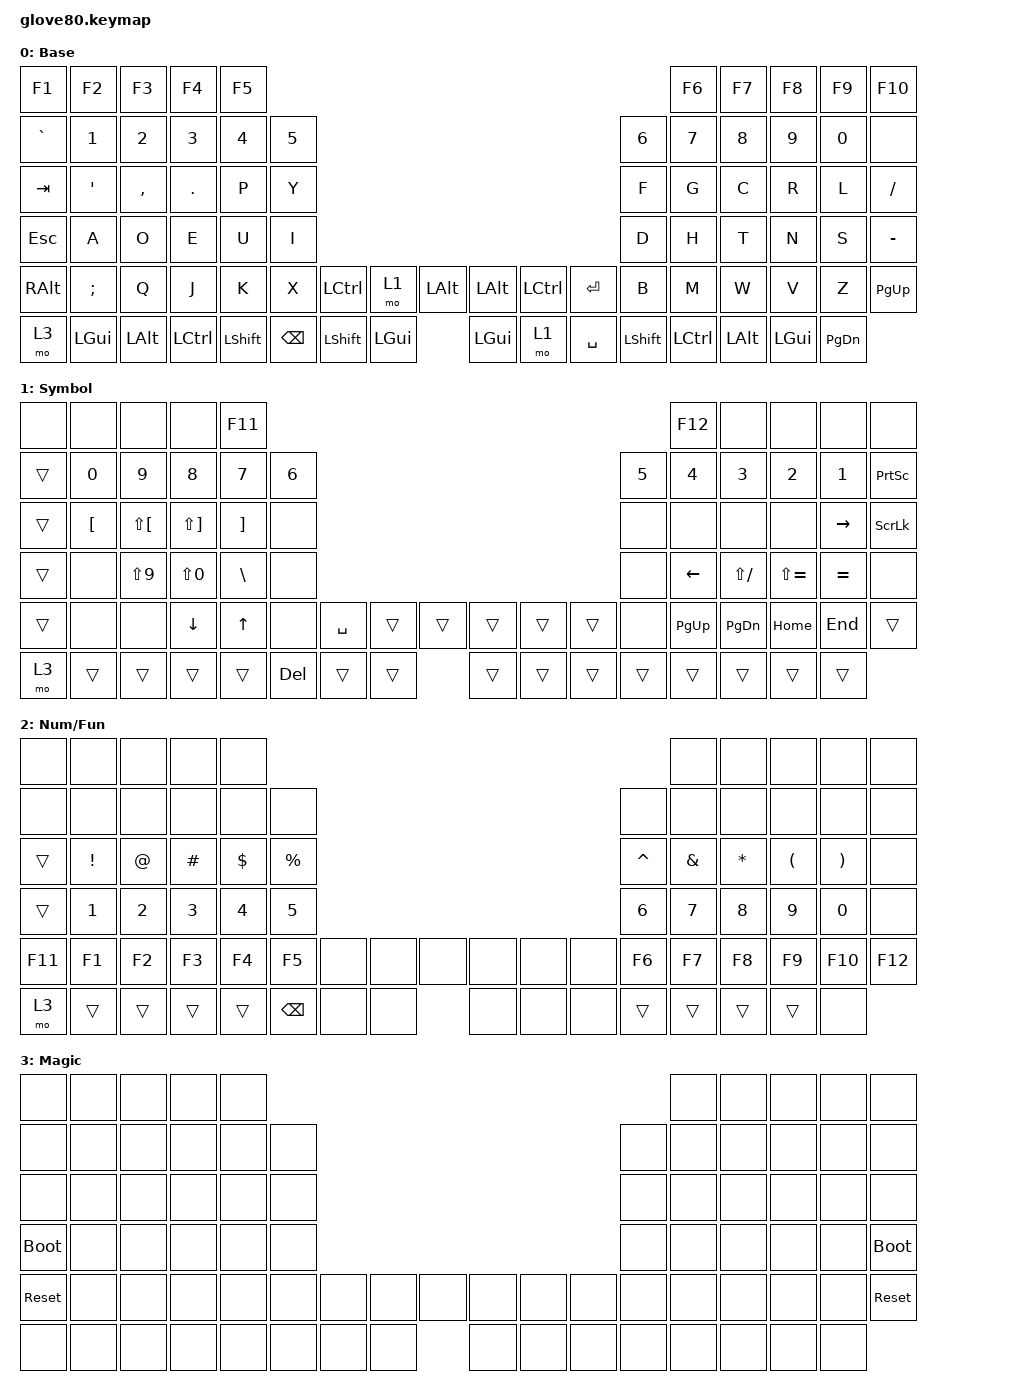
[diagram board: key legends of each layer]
#include <behaviors.dtsi>
#include <dt-bindings/zmk/keys.h>

#pragma once

#define ZMK_HELPER_STRINGIFY(x) #x

// Preprocessor mechanism to overload macros, cf. https://stackoverflow.com/a/27051616/6114651

#define VARGS_(_10, _9, _8, _7, _6, _5, _4, _3, _2, _1, N, ...) N
#define VARGS(...) VARGS_(__VA_ARGS__, 10, 9, 8, 7, 6, 5, 4, 3, 2, 1, 0)
#define CONCAT_(a, b) a##b
#define CONCAT(a, b) CONCAT_(a, b)

#define ZMK_BEHAVIOR_CORE_tap_dance  \
    compatible = "zmk,behavior-tap-dance"; \
    #binding-cells = <0>

#define ZMK_BEHAVIOR(name, type, ...) \
    name: name { \
        ZMK_BEHAVIOR_CORE_ ## type; \
        __VA_ARGS__ \
    };
#define ZMK_TAP_DANCE(name, ...) \
    ZMK_BEHAVIOR(name, tap_dance, __VA_ARGS__)
#define ZMK_TD_LAYER(name, layer) \
    ZMK_TAP_DANCE(name, \
        tapping-term-ms = <200>; \
        bindings = <&mo layer>, <&to layer>; \
)

#define POS_LH_T1 52
#define POS_LH_T2 53
#define POS_LH_T3 54
#define POS_LH_T4 69
#define POS_LH_T5 70
#define POS_LH_T6 71
#define POS_LH_C1R2 15
#define POS_LH_C1R3 27
#define POS_LH_C1R4 39
#define POS_LH_C1R5 51
#define POS_LH_C2R1 4
#define POS_LH_C2R2 14
#define POS_LH_C2R3 26
#define POS_LH_C2R4 38
#define POS_LH_C2R5 50
#define POS_LH_C2R6 68
#define POS_LH_C3R1 3
#define POS_LH_C3R2 13
#define POS_LH_C3R3 25
#define POS_LH_C3R4 37
#define POS_LH_C3R5 49
#define POS_LH_C3R6 67
#define POS_LH_C4R1 2
#define POS_LH_C4R2 12
#define POS_LH_C4R3 24
#define POS_LH_C4R4 36
#define POS_LH_C4R5 48
#define POS_LH_C4R6 66
#define POS_LH_C5R1 1
#define POS_LH_C5R2 11
#define POS_LH_C5R3 23
#define POS_LH_C5R4 35
#define POS_LH_C5R5 47
#define POS_LH_C5R6 65
#define POS_LH_C6R1 0
#define POS_LH_C6R2 10
#define POS_LH_C6R3 22
#define POS_LH_C6R4 34
#define POS_LH_C6R5 46
#define POS_LH_C6R6 64
#define POS_RH_T1 57
#define POS_RH_T2 56
#define POS_RH_T3 55
#define POS_RH_T4 74
#define POS_RH_T5 73
#define POS_RH_T6 72
#define POS_RH_C1R2 16
#define POS_RH_C1R3 28
#define POS_RH_C1R4 40
#define POS_RH_C1R5 58
#define POS_RH_C2R1 5
#define POS_RH_C2R2 17
#define POS_RH_C2R3 29
#define POS_RH_C2R4 41
#define POS_RH_C2R5 59
#define POS_RH_C2R6 75
#define POS_RH_C3R1 6
#define POS_RH_C3R2 18
#define POS_RH_C3R3 30
#define POS_RH_C3R4 42
#define POS_RH_C3R5 60
#define POS_RH_C3R6 76
#define POS_RH_C4R1 7
#define POS_RH_C4R2 19
#define POS_RH_C4R3 31
#define POS_RH_C4R4 43
#define POS_RH_C4R5 61
#define POS_RH_C4R6 77
#define POS_RH_C5R1 8
#define POS_RH_C5R2 20
#define POS_RH_C5R3 32
#define POS_RH_C5R4 44
#define POS_RH_C5R5 62
#define POS_RH_C5R6 78
#define POS_RH_C6R1 9
#define POS_RH_C6R2 21
#define POS_RH_C6R3 33
#define POS_RH_C6R4 45
#define POS_RH_C6R5 63
#define POS_RH_C6R6 79

/ {
    combos {
        compatible = "zmk,combos";

        combo_NumFunLH {
            key-positions = <53 70>;
            bindings = <&mo 2>;
            layers = <0 1>;
        };

        // Malalta layer combo with less thumb movement

        combo_NumFunRH {
            key-positions = <73 74>;
            bindings = <&mo 2>;
            layers = <0 1>;
        };
    };
};

/ {
    keymap {
        compatible = "zmk,keymap";

        Base {
            display-name = "Base";
            bindings = <
&kp F1                &kp F2    &kp F3     &kp F4     &kp F5                                                                                       &kp F6     &kp F7     &kp F8    &kp F9    &kp F10
&kp GRAVE             &kp N1    &kp N2     &kp N3     &kp N4     &kp N5                                                                    &kp N6  &kp N7     &kp N8     &kp N9    &kp N0    &none
&kp TAB               &kp SQT   &kp COMMA  &kp DOT    &kp P      &kp Y                                                                     &kp F   &kp G      &kp C      &kp R     &kp L     &kp SLASH
&kp ESC               &kp A     &kp O      &kp E      &kp U      &kp I                                                                     &kp D   &kp H      &kp T      &kp N     &kp S     &kp MINUS
&kp RALT              &kp SEMI  &kp Q      &kp J      &kp K      &kp X   &kp LCTRL  &mo 1      &kp LALT    &kp LALT  &kp LCTRL  &kp RET    &kp B   &kp M      &kp W      &kp V     &kp Z     &kp PG_UP
&mo 3  &kp LGUI  &kp LALT   &kp LCTRL  &kp LSHFT          &kp BSPC   &kp LSHFT  &kp LGUI    &kp LGUI  &mo 1      &kp SPACE          &kp LSHFT  &kp LCTRL  &kp LALT  &kp LGUI  &kp PG_DN
            >;
        };

        Symbol {
            display-name = "Symbol";
            bindings = <
&none                 &none     &none         &none         &kp F11                                                                        &kp F12    &none         &none          &none      &none
&trans                &kp N0    &kp N9        &kp N8        &kp N7    &kp N6                                                       &kp N5  &kp N4     &kp N3        &kp N2         &kp N1     &kp PRINTSCREEN
&trans                &kp LBKT  &kp LS(LBKT)  &kp LS(RBKT)  &kp RBKT  &none                                                        &none   &none      &none         &none          &kp RIGHT  &kp SCROLLLOCK
&trans                &none     &kp LS(N9)    &kp LS(N0)    &kp BSLH  &none                                                        &none   &kp LEFT   &kp LS(FSLH)  &kp LS(EQUAL)  &kp EQUAL  &none
&trans                &none     &none         &kp DOWN      &kp UP    &none   &kp SPACE  &trans  &trans    &trans  &trans  &trans  &none   &kp PG_UP  &kp PG_DN     &kp HOME       &kp END    &trans
&mo 3  &trans    &trans        &trans        &trans            &kp DEL    &trans  &trans    &trans  &trans  &trans          &trans     &trans        &trans         &trans     &trans
            >;
        };

        Num-Fun {
            display-name = "Num/Fun";
            bindings = <
&none                 &none     &none   &none     &none                                                                          &none     &none     &none     &none     &none
&none                 &none     &none   &none     &none     &none                                                     &none      &none     &none     &none     &none     &none
&trans                &kp EXCL  &kp AT  &kp HASH  &kp DLLR  &kp PRCNT                                                 &kp CARET  &kp AMPS  &kp STAR  &kp LPAR  &kp RPAR  &none
&trans                &kp N1    &kp N2  &kp N3    &kp N4    &kp N5                                                    &kp N6     &kp N7    &kp N8    &kp N9    &kp N0    &none
&kp F11               &kp F1    &kp F2  &kp F3    &kp F4    &kp F5     &none     &none  &none    &none  &none  &none  &kp F6     &kp F7    &kp F8    &kp F9    &kp F10   &kp F12
&mo 3  &trans    &trans  &trans    &trans               &kp BSPC  &none  &none    &none  &none  &none             &trans    &trans    &trans    &trans    &none
            >;
        };

        Magic {
            display-name = "Magic";
            bindings = <
&none        &none  &none  &none  &none                                                            &none  &none  &none  &none  &none
&none        &none  &none  &none  &none  &none                                              &none  &none  &none  &none  &none  &none
&none        &none  &none  &none  &none  &none                                              &none  &none  &none  &none  &none  &none
&bootloader  &none  &none  &none  &none  &none                                              &none  &none  &none  &none  &none  &bootloader
&sys_reset   &none  &none  &none  &none  &none  &none  &none  &none    &none  &none  &none  &none  &none  &none  &none  &none  &sys_reset
&none        &none  &none  &none  &none         &none  &none  &none    &none  &none  &none         &none  &none  &none  &none  &none
            >;
        };
    };
};
